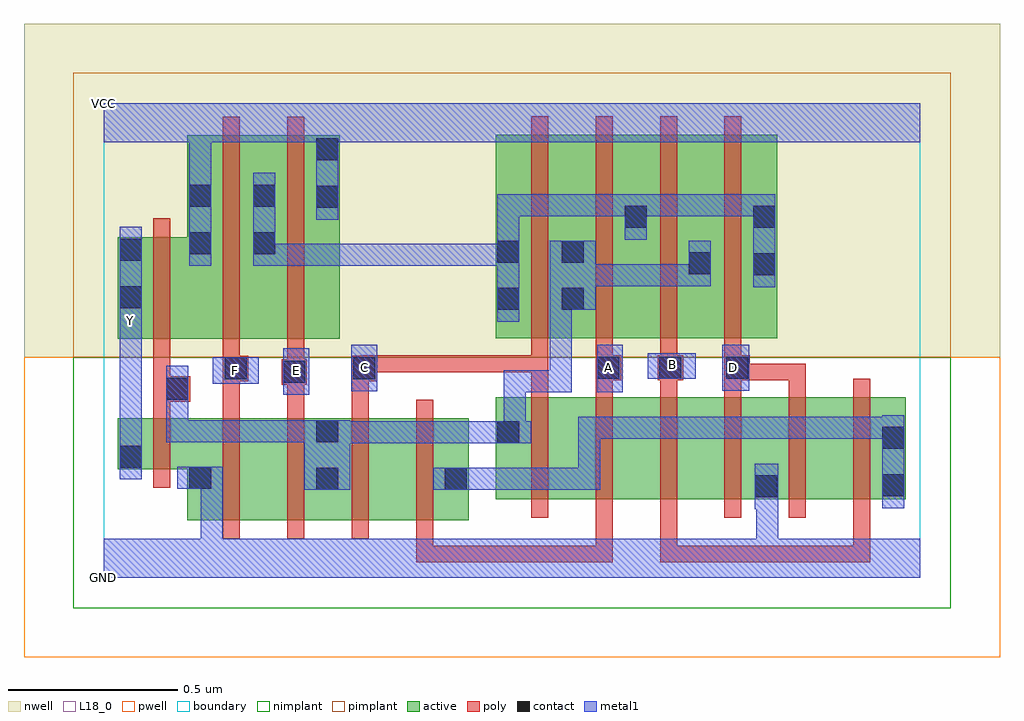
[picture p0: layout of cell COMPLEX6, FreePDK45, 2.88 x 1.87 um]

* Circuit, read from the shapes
.subckt COMPLEX6 A B C D E F GND VCC Y
M1 GND n1 Y VSUBS nfet w=0.15u l=0.05u
M2 n2 F GND VSUBS nfet w=0.3u l=0.05u
M3 n1 E n2 VSUBS nfet w=0.3u l=0.05u
M4 n3 C n1 VSUBS nfet w=0.3u l=0.05u
M5 n4 A n3 VSUBS nfet w=0.3u l=0.05u
M6 n5 C n1 VSUBS nfet w=0.3u l=0.05u
M7 n6 A n5 VSUBS nfet w=0.3u l=0.05u
M8 n7 B n6 VSUBS nfet w=0.3u l=0.05u
M9 GND D n7 VSUBS nfet w=0.3u l=0.05u
M10 n8 D GND VSUBS nfet w=0.3u l=0.05u
M11 n4 B n8 VSUBS nfet w=0.3u l=0.05u
M12 VCC n1 Y n9 pfet w=0.3u l=0.05u
M13 n10 F VCC n9 pfet w=0.6u l=0.05u
M14 VCC E n10 n9 pfet w=0.6u l=0.05u
M15 n1 C n10 n9 pfet w=0.6u l=0.05u
M16 n10 A n1 n9 pfet w=0.6u l=0.05u
M17 n1 B n10 n9 pfet w=0.6u l=0.05u
M18 n10 D n1 n9 pfet w=0.6u l=0.05u
.ends

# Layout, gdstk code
import gdstk
lib = gdstk.Library(unit=1e-6, precision=1e-09)
def R(c, l, rs):  # rectangles x0, y0, x1, y1
    for r in rs: c.add(gdstk.rectangle(r[:2], r[2:], *l))
def A(c, l, x, y, w, h, nx, ny, dx, dy):  # array of equal rectangles
    R(c, l, [(x+i*dx, y+j*dy, x+i*dx+w, y+j*dy+h) for i in range(nx) for j in range(ny)])
active = (1, 0)
pwell = (2, 0)
nwell = (3, 0)
nimplant = (4, 0)
pimplant = (5, 0)
poly = (9, 0)
contact = (10, 0)
metal1 = (11, 0)
L18_0 = (18, 0)
boundary = (235, 0)

complex6 = lib.new_cell('COMPLEX6')
R(complex6, active, [(0.247,0.17,0.472,0.47), (0.472,0.17,0.697,0.47), (0.622,0.17,0.852,0.47), (0.852,0.17,1.077,0.47), (0.622,0.2,0.697,0.47), (1.002,0.2,1.077,0.47), (1.157,0.232,1.382,0.532), (1.382,0.232,1.572,0.532), (1.572,0.232,1.762,0.532), (1.762,0.232,1.992,0.532), (1.917,0.232,2.142,0.532), (1.917,0.232,1.992,0.517), (2.142,0.232,2.367,0.532), (2.292,0.235,2.367,0.532), (0.247,0.257,0.322,0.397), (1.157,0.295,1.262,0.532), (0.042,0.32,0.322,0.47), (0.042,0.32,0.117,0.47), (0.042,0.705,0.322,1.005), (0.042,0.705,0.117,1.005), (0.247,0.705,0.512,1.305), (0.247,0.705,0.322,1.305), (0.437,0.705,0.697,1.305), (0.437,0.705,0.512,1.2), (0.622,0.705,0.697,1.305), (1.157,0.707,1.232,1.2), (1.157,0.707,1.422,1.307), (1.347,0.707,1.422,1.07), (1.347,0.707,1.607,1.307), (1.532,0.707,1.607,1.2), (1.532,0.707,1.797,1.307), (1.722,0.707,1.987,1.307), (1.722,0.707,1.797,1.07), (1.912,0.707,1.987,1.2)])
R(complex6, pwell, [(-0.235,-0.235,2.645,0.65)])
R(complex6, nwell, [(-0.235,0.65,2.645,1.635)])
R(complex6, nimplant, [(-0.09,-0.09,2.5,0.65)])
R(complex6, pimplant, [(-0.09,0.65,2.5,1.49)])
A(complex6, poly, 0.352, 0.115, 0.05, 0.41, 4, 1, 0.19, 0)
A(complex6, poly, 1.262, 0.177, 0.05, 0.41, 6, 1, 0.19, 0)
A(complex6, poly, 1.452, 0.537, 0.05, 0.095, 4, 1, 0.19, 0)
A(complex6, poly, 1.262, 0.607, 0.05, 0.095, 4, 1, 0.19, 0)
A(complex6, poly, 1.262, 0.652, 0.05, 0.71, 4, 1, 0.19, 0)
R(complex6, poly, [(0.922,0.045,0.972,0.095), (0.922,0.045,0.972,0.095), (0.922,0.045,0.972,0.095), (0.922,0.045,0.972,0.165), (0.922,0.045,1.37,0.095), (1.32,0.045,1.502,0.095), (1.32,0.045,1.37,0.095), (1.32,0.045,1.37,0.095), (1.32,0.045,1.37,0.095), (1.452,0.045,1.502,0.227), (1.452,0.045,1.502,0.095), (1.452,0.045,1.502,0.095), (1.452,0.045,1.502,0.095), (1.642,0.045,1.692,0.227), (1.642,0.045,1.692,0.095), (1.642,0.045,1.692,0.095), (1.642,0.045,1.692,0.095), (1.642,0.045,1.94,0.095), (1.89,0.045,1.94,0.095), (1.89,0.045,1.94,0.095), (1.89,0.045,1.94,0.095), (1.89,0.045,2.13,0.095), (2.08,0.045,2.262,0.095), (2.08,0.045,2.13,0.095), (2.08,0.045,2.13,0.095), (2.08,0.045,2.13,0.095), (2.212,0.045,2.262,0.227), (2.212,0.045,2.262,0.095), (0.147,0.265,0.197,0.525), (0.147,0.475,0.197,0.57), (0.352,0.475,0.402,0.63), (0.542,0.475,0.592,0.62), (0.732,0.475,0.782,0.63), (0.147,0.52,0.255,0.595), (1.262,0.537,1.312,0.657), (0.147,0.545,0.197,0.7), (0.525,0.57,0.6,0.645), (0.352,0.58,0.427,0.655), (0.732,0.58,0.807,0.655), (1.452,0.582,1.527,0.657), (1.635,0.582,1.71,0.657), (1.832,0.582,1.907,0.657), (1.857,0.582,1.907,0.632), (1.857,0.582,1.907,0.632), (1.857,0.582,2.072,0.632), (2.022,0.582,2.072,0.632), (0.542,0.595,0.592,0.7), (0.352,0.605,0.402,0.7), (0.757,0.605,0.807,0.655), (0.757,0.605,0.807,0.657), (0.757,0.607,1.18,0.657), (1.13,0.607,1.312,0.657), (1.13,0.607,1.18,0.657), (1.13,0.607,1.18,0.657), (1.13,0.607,1.18,0.657), (1.262,0.607,1.312,0.657), (1.262,0.607,1.312,0.657), (1.262,0.607,1.312,0.657), (0.147,0.65,0.197,1.06), (0.352,0.65,0.402,1.36), (0.542,0.65,0.592,1.36)])
R(complex6, contact, [(1.922,0.237,1.987,0.302), (2.297,0.24,2.362,0.305), (0.627,0.26,0.692,0.325), (1.007,0.26,1.072,0.325), (0.252,0.262,0.317,0.327), (0.047,0.325,0.112,0.39), (2.297,0.38,2.362,0.445), (1.162,0.397,1.227,0.462), (0.627,0.4,0.692,0.465), (0.185,0.525,0.25,0.59), (0.53,0.575,0.595,0.64), (0.357,0.585,0.422,0.65), (0.737,0.585,0.802,0.65), (1.457,0.587,1.522,0.652), (1.64,0.587,1.705,0.652), (1.837,0.587,1.902,0.652), (1.162,0.79,1.227,0.855), (1.352,0.79,1.417,0.855), (0.047,0.795,0.112,0.86), (1.917,0.892,1.982,0.957), (1.727,0.895,1.792,0.96), (1.162,0.93,1.227,0.995), (1.352,0.93,1.417,0.995), (0.047,0.935,0.112,1), (0.252,0.955,0.317,1.02), (0.442,0.955,0.507,1.02), (1.537,1.032,1.602,1.097), (1.917,1.032,1.982,1.097), (0.627,1.092,0.692,1.157), (0.252,1.095,0.317,1.16), (0.442,1.095,0.507,1.16), (0.627,1.232,0.692,1.297)])
R(complex6, metal1, [(0,0,2.41,0.115), (0.287,0.05,0.352,0.115), (0.287,0.05,0.352,0.115), (0.287,0.05,0.352,0.115), (0.287,0.05,0.352,0.115), (0.287,0.05,0.352,0.327), (1.925,0.05,1.99,0.115), (1.925,0.05,1.99,0.115), (1.925,0.05,1.99,0.115), (1.925,0.05,1.99,0.115), (1.925,0.05,1.99,0.267), (1.922,0.202,1.99,0.337), (2.297,0.205,2.362,0.48), (0.592,0.26,0.727,0.465), (0.972,0.26,1.107,0.325), (1.042,0.26,1.245,0.325), (1.18,0.26,1.245,0.325), (1.18,0.26,1.245,0.325), (1.18,0.26,1.245,0.325), (1.18,0.26,1.465,0.325), (1.4,0.26,1.465,0.325), (1.4,0.26,1.465,0.475), (0.217,0.262,0.352,0.327), (0.047,0.29,0.112,0.425), (0.047,0.36,0.112,0.757), (0.662,0.397,0.865,0.462), (0.8,0.397,0.865,0.462), (0.8,0.397,0.865,0.462), (0.8,0.397,0.865,0.462), (0.8,0.397,1.055,0.462), (0.99,0.397,1.055,0.462), (0.99,0.397,1.055,0.462), (0.99,0.397,1.055,0.462), (0.99,0.397,1.192,0.462), (1.127,0.397,1.262,0.462), (1.18,0.397,1.245,0.612), (0.185,0.4,0.25,0.465), (0.185,0.4,0.457,0.465), (0.185,0.4,0.25,0.555), (0.392,0.4,0.457,0.465), (0.392,0.4,0.457,0.465), (0.392,0.4,0.457,0.465), (0.392,0.4,0.657,0.465), (0.592,0.4,0.657,0.465), (0.592,0.4,0.657,0.465), (1.4,0.41,1.465,0.475), (1.4,0.41,1.465,0.475), (1.4,0.41,1.465,0.475), (1.4,0.41,1.602,0.475), (1.537,0.41,1.602,0.475), (1.537,0.41,1.602,0.475), (1.537,0.41,1.602,0.475), (1.537,0.41,1.845,0.475), (1.78,0.41,1.845,0.475), (1.78,0.41,1.982,0.475), (1.917,0.41,1.982,0.475), (1.917,0.41,1.982,0.475), (1.917,0.41,1.982,0.475), (1.917,0.41,2.12,0.475), (2.055,0.41,2.12,0.475), (2.055,0.41,2.12,0.475), (2.055,0.41,2.12,0.475), (2.055,0.41,2.362,0.475), (2.297,0.41,2.362,0.475), (2.297,0.41,2.362,0.475), (0.185,0.49,0.25,0.555), (0.185,0.49,0.25,0.555), (0.185,0.49,0.25,0.625), (0.53,0.54,0.607,0.677), (1.18,0.547,1.245,0.612), (1.18,0.547,1.245,0.612), (1.18,0.547,1.245,0.612), (1.18,0.547,1.382,0.612), (1.317,0.547,1.382,0.612), (1.317,0.547,1.382,0.855), (1.457,0.547,1.532,0.687), (0.73,0.55,0.807,0.687), (1.825,0.552,1.905,0.687), (0.322,0.572,0.457,0.65), (1.605,0.587,1.747,0.662), (0.047,0.692,0.112,0.827), (1.162,0.755,1.227,1.03), (0.047,0.76,0.112,0.825), (0.047,0.76,0.112,1.035), (1.317,0.79,1.452,0.995), (1.917,0.857,1.982,1.132), (1.387,0.86,1.452,0.925), (1.387,0.86,1.452,0.925), (1.387,0.86,1.602,0.925), (1.537,0.86,1.602,0.925), (1.537,0.86,1.602,0.925), (1.537,0.86,1.602,0.925), (1.537,0.86,1.792,0.925), (1.727,0.86,1.792,0.995), (0.252,0.92,0.317,1.195), (0.442,0.92,0.507,1.195), (0.442,0.92,0.645,0.985), (0.58,0.92,0.645,0.985), (0.58,0.92,0.645,0.985), (0.58,0.92,0.645,0.985), (0.58,0.92,0.865,0.985), (0.8,0.92,0.865,0.985), (0.8,0.92,0.865,0.985), (0.8,0.92,0.865,0.985), (0.8,0.92,1.055,0.985), (0.99,0.92,1.055,0.985), (0.99,0.92,1.055,0.985), (0.99,0.92,1.055,0.985), (0.99,0.92,1.227,0.985), (1.162,0.965,1.227,1.132), (1.537,0.997,1.602,1.132), (0.627,1.057,0.692,1.332), (1.162,1.067,1.227,1.132), (1.162,1.067,1.245,1.132), (1.18,1.067,1.245,1.132), (1.18,1.067,1.4,1.132), (1.335,1.067,1.4,1.132), (1.335,1.067,1.4,1.132), (1.335,1.067,1.4,1.132), (1.335,1.067,1.602,1.132), (1.537,1.067,1.602,1.132), (1.537,1.067,1.602,1.132), (1.537,1.067,1.74,1.132), (1.675,1.067,1.74,1.132), (1.675,1.067,1.982,1.132), (1.917,1.067,1.982,1.132), (1.917,1.067,1.982,1.132), (0.252,1.13,0.317,1.35), (0.627,1.267,0.692,1.35), (0,1.285,2.41,1.4)])
R(complex6, L18_0, [(0,0,2.41,0.115), (0.287,0.05,0.352,0.115), (0.287,0.05,0.352,0.115), (0.287,0.05,0.352,0.115), (0.287,0.05,0.352,0.115), (0.287,0.05,0.352,0.327), (1.925,0.05,1.99,0.115), (1.925,0.05,1.99,0.115), (1.925,0.05,1.99,0.115), (1.925,0.05,1.99,0.115), (1.925,0.05,1.99,0.267), (1.922,0.202,1.99,0.337), (0.217,0.262,0.352,0.327), (0.047,0.29,0.112,0.425), (0.047,0.36,0.112,0.757), (0.53,0.54,0.607,0.677), (1.457,0.547,1.532,0.687), (0.73,0.55,0.807,0.687), (1.825,0.552,1.905,0.687), (0.322,0.572,0.457,0.65), (0.357,0.577,0.422,0.642), (0.537,0.577,0.602,0.642), (0.737,0.587,0.802,0.652), (1.457,0.587,1.522,0.652), (1.605,0.587,1.747,0.662), (1.827,0.587,1.892,0.652), (1.647,0.597,1.712,0.662), (0.047,0.692,0.112,0.827), (0.047,0.727,0.112,0.792), (0.047,0.76,0.112,1.035), (0.047,0.76,0.112,0.825), (0.252,0.92,0.317,1.195), (0.627,1.057,0.692,1.332), (0.252,1.13,0.317,1.35), (0.627,1.267,0.692,1.35), (0,1.285,2.41,1.4)])
R(complex6, boundary, [(0,0,2.41,1.4)])
complex6.add(gdstk.Label('A', (1.49,0.62), layer=11, texttype=0))
complex6.add(gdstk.Label('B', (1.68,0.63), layer=11, texttype=0))
complex6.add(gdstk.Label('C', (0.77,0.62), layer=11, texttype=0))
complex6.add(gdstk.Label('D', (1.86,0.62), layer=11, texttype=0))
complex6.add(gdstk.Label('E', (0.57,0.61), layer=11, texttype=0))
complex6.add(gdstk.Label('F', (0.39,0.61), layer=11, texttype=0))
complex6.add(gdstk.Label('Y', (0.08,0.76), layer=11, texttype=0))
complex6.add(gdstk.Label('VCC', (0,1.4), layer=11, texttype=0))
complex6.add(gdstk.Label('GND', (0,0), layer=11, texttype=0))

lib.write_gds('COMPLEX6.gds')
